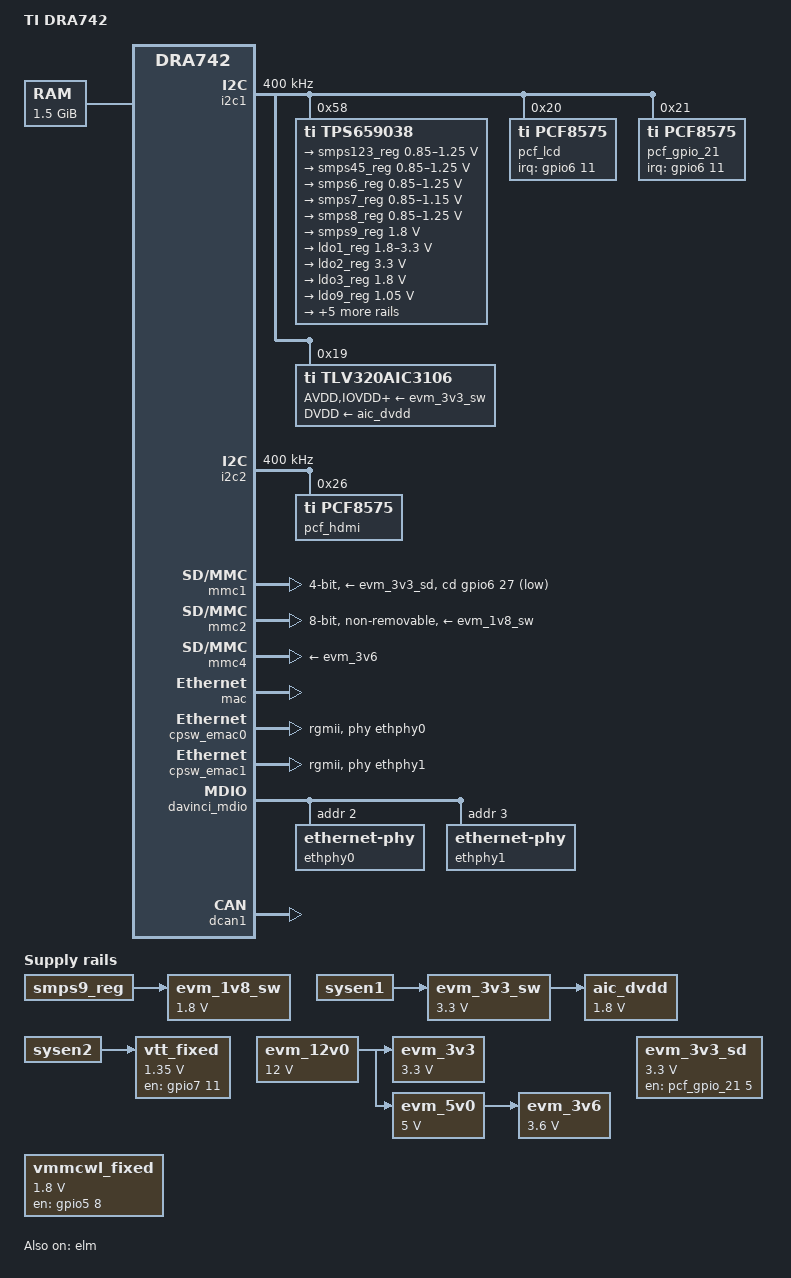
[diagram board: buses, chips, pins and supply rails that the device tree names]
// SPDX-License-Identifier: GPL-2.0-only
/*
 * Copyright (C) 2013 Texas Instruments Incorporated - http://www.ti.com/
 */
/dts-v1/;

#include "dra74x.dtsi"
#include "dra7-evm-common.dtsi"
#include "dra74x-mmc-iodelay.dtsi"

/ {
	model = "TI DRA742";
	compatible = "ti,dra7-evm", "ti,dra742", "ti,dra74", "ti,dra7";

	memory@0 {
		device_type = "memory";
		reg = <0x0 0x80000000 0x0 0x60000000>; /* 1536 MB */
	};

	evm_12v0: fixedregulator-evm_12v0 {
		/* main supply */
		compatible = "regulator-fixed";
		regulator-name = "evm_12v0";
		regulator-min-microvolt = <12000000>;
		regulator-max-microvolt = <12000000>;
		regulator-always-on;
		regulator-boot-on;
	};

	evm_1v8_sw: fixedregulator-evm_1v8 {
		compatible = "regulator-fixed";
		regulator-name = "evm_1v8";
		vin-supply = <&smps9_reg>;
		regulator-min-microvolt = <1800000>;
		regulator-max-microvolt = <1800000>;
	};

	evm_3v3_sd: fixedregulator-sd {
		compatible = "regulator-fixed";
		regulator-name = "evm_3v3_sd";
		regulator-min-microvolt = <3300000>;
		regulator-max-microvolt = <3300000>;
		enable-active-high;
		gpio = <&pcf_gpio_21 5 GPIO_ACTIVE_HIGH>;
	};

	evm_3v3_sw: fixedregulator-evm_3v3_sw {
		compatible = "regulator-fixed";
		regulator-name = "evm_3v3_sw";
		vin-supply = <&sysen1>;
		regulator-min-microvolt = <3300000>;
		regulator-max-microvolt = <3300000>;
	};

	aic_dvdd: fixedregulator-aic_dvdd {
		/* TPS77018DBVT */
		compatible = "regulator-fixed";
		regulator-name = "aic_dvdd";
		vin-supply = <&evm_3v3_sw>;
		regulator-min-microvolt = <1800000>;
		regulator-max-microvolt = <1800000>;
	};

	evm_3v3: fixedregulator-evm3v3 {
		/* Output of Cntlr A of TPS43351-Q1 on dra7-evm */
		compatible = "regulator-fixed";
		regulator-name = "evm_3v3";
		regulator-min-microvolt = <3300000>;
		regulator-max-microvolt = <3300000>;
		vin-supply = <&evm_12v0>;
		regulator-always-on;
		regulator-boot-on;
	};

	evm_5v0: fixedregulator-evm_5v0 {
		/* Output of Cntlr B of TPS43351-Q1 on dra7-evm */
		compatible = "regulator-fixed";
		regulator-name = "evm_5v0";
		regulator-min-microvolt = <5000000>;
		regulator-max-microvolt = <5000000>;
		vin-supply = <&evm_12v0>;
		regulator-always-on;
		regulator-boot-on;
	};

	evm_3v6: fixedregulator-evm_3v6 {
		compatible = "regulator-fixed";
		regulator-name = "evm_3v6";
		regulator-min-microvolt = <3600000>;
		regulator-max-microvolt = <3600000>;
		vin-supply = <&evm_5v0>;
		regulator-always-on;
		regulator-boot-on;
	};

	vmmcwl_fixed: fixedregulator-mmcwl {
		compatible = "regulator-fixed";
		regulator-name = "vmmcwl_fixed";
		regulator-min-microvolt = <1800000>;
		regulator-max-microvolt = <1800000>;
		gpio = <&gpio5 8 0>;
		startup-delay-us = <70000>;
		enable-active-high;
	};

	vtt_fixed: fixedregulator-vtt {
		compatible = "regulator-fixed";
		regulator-name = "vtt_fixed";
		regulator-min-microvolt = <1350000>;
		regulator-max-microvolt = <1350000>;
		regulator-always-on;
		regulator-boot-on;
		enable-active-high;
		vin-supply = <&sysen2>;
		gpio = <&gpio7 11 GPIO_ACTIVE_HIGH>;
	};

};

&dra7_pmx_core {
	dcan1_pins_default: dcan1_pins_default {
		pinctrl-single,pins = <
			DRA7XX_CORE_IOPAD(0x37d0, PIN_OUTPUT_PULLUP | MUX_MODE0) /* dcan1_tx */
			DRA7XX_CORE_IOPAD(0x3818, PULL_UP | MUX_MODE1) /* wakeup0.dcan1_rx */
		>;
	};

	dcan1_pins_sleep: dcan1_pins_sleep {
		pinctrl-single,pins = <
			DRA7XX_CORE_IOPAD(0x37d0, MUX_MODE15 | PULL_UP)	/* dcan1_tx.off */
			DRA7XX_CORE_IOPAD(0x3818, MUX_MODE15 | PULL_UP)	/* wakeup0.off */
		>;
	};
};

&i2c1 {
	status = "okay";
	clock-frequency = <400000>;

	tps659038: tps659038@58 {
		compatible = "ti,tps659038";
		reg = <0x58>;
		ti,palmas-override-powerhold;
		ti,system-power-controller;

		tps659038_pmic {
			compatible = "ti,tps659038-pmic";

			regulators {
				smps123_reg: smps123 {
					/* VDD_MPU */
					regulator-name = "smps123";
					regulator-min-microvolt = < 850000>;
					regulator-max-microvolt = <1250000>;
					regulator-always-on;
					regulator-boot-on;
				};

				smps45_reg: smps45 {
					/* VDD_DSPEVE */
					regulator-name = "smps45";
					regulator-min-microvolt = < 850000>;
					regulator-max-microvolt = <1250000>;
					regulator-always-on;
					regulator-boot-on;
				};

				smps6_reg: smps6 {
					/* VDD_GPU - over VDD_SMPS6 */
					regulator-name = "smps6";
					regulator-min-microvolt = <850000>;
					regulator-max-microvolt = <1250000>;
					regulator-always-on;
					regulator-boot-on;
				};

				smps7_reg: smps7 {
					/* CORE_VDD */
					regulator-name = "smps7";
					regulator-min-microvolt = <850000>;
					regulator-max-microvolt = <1150000>;
					regulator-always-on;
					regulator-boot-on;
				};

				smps8_reg: smps8 {
					/* VDD_IVAHD */
					regulator-name = "smps8";
					regulator-min-microvolt = < 850000>;
					regulator-max-microvolt = <1250000>;
					regulator-always-on;
					regulator-boot-on;
				};

				smps9_reg: smps9 {
					/* VDDS1V8 */
					regulator-name = "smps9";
					regulator-min-microvolt = <1800000>;
					regulator-max-microvolt = <1800000>;
					regulator-always-on;
					regulator-boot-on;
				};

				ldo1_reg: ldo1 {
					/* LDO1_OUT --> SDIO  */
					regulator-name = "ldo1";
					regulator-min-microvolt = <1800000>;
					regulator-max-microvolt = <3300000>;
					regulator-always-on;
					regulator-boot-on;
				};

				ldo2_reg: ldo2 {
					/* VDD_RTCIO */
					/* LDO2 -> VDDSHV5, LDO2 also goes to CAN_PHY_3V3 */
					regulator-name = "ldo2";
					regulator-min-microvolt = <3300000>;
					regulator-max-microvolt = <3300000>;
					regulator-always-on;
					regulator-boot-on;
				};

				ldo3_reg: ldo3 {
					/* VDDA_1V8_PHY */
					regulator-name = "ldo3";
					regulator-min-microvolt = <1800000>;
					regulator-max-microvolt = <1800000>;
					regulator-always-on;
					regulator-boot-on;
				};

				ldo9_reg: ldo9 {
					/* VDD_RTC */
					regulator-name = "ldo9";
					regulator-min-microvolt = <1050000>;
					regulator-max-microvolt = <1050000>;
					regulator-always-on;
					regulator-boot-on;
					regulator-allow-bypass;
				};

				ldoln_reg: ldoln {
					/* VDDA_1V8_PLL */
					regulator-name = "ldoln";
					regulator-min-microvolt = <1800000>;
					regulator-max-microvolt = <1800000>;
					regulator-always-on;
					regulator-boot-on;
				};

				ldousb_reg: ldousb {
					/* VDDA_3V_USB: VDDA_USBHS33 */
					regulator-name = "ldousb";
					regulator-min-microvolt = <3300000>;
					regulator-max-microvolt = <3300000>;
					regulator-boot-on;
				};

				/* REGEN1 is unused */

				regen2: regen2 {
					/* Needed for PMIC internal resources */
					regulator-name = "regen2";
					regulator-boot-on;
					regulator-always-on;
				};

				/* REGEN3 is unused */

				sysen1: sysen1 {
					/* PMIC_REGEN_3V3 */
					regulator-name = "sysen1";
					regulator-boot-on;
					regulator-always-on;
				};

				sysen2: sysen2 {
					/* PMIC_REGEN_DDR */
					regulator-name = "sysen2";
					regulator-boot-on;
					regulator-always-on;
				};
			};
		};
	};

	pcf_lcd: gpio@20 {
		compatible = "ti,pcf8575", "nxp,pcf8575";
		reg = <0x20>;
		gpio-controller;
		#gpio-cells = <2>;
		interrupt-parent = <&gpio6>;
		interrupts = <11 IRQ_TYPE_EDGE_FALLING>;
		interrupt-controller;
		#interrupt-cells = <2>;
	};

	pcf_gpio_21: gpio@21 {
		compatible = "ti,pcf8575", "nxp,pcf8575";
		reg = <0x21>;
		lines-initial-states = <0x1408>;
		gpio-controller;
		#gpio-cells = <2>;
		interrupt-parent = <&gpio6>;
		interrupts = <11 IRQ_TYPE_EDGE_FALLING>;
		interrupt-controller;
		#interrupt-cells = <2>;
	};

	tlv320aic3106: tlv320aic3106@19 {
		#sound-dai-cells = <0>;
		compatible = "ti,tlv320aic3106";
		reg = <0x19>;
		adc-settle-ms = <40>;
		ai3x-micbias-vg = <1>;		/* 2.0V */
		status = "okay";

		/* Regulators */
		AVDD-supply = <&evm_3v3_sw>;
		IOVDD-supply = <&evm_3v3_sw>;
		DRVDD-supply = <&evm_3v3_sw>;
		DVDD-supply = <&aic_dvdd>;
	};
};

&i2c2 {
	status = "okay";
	clock-frequency = <400000>;

	pcf_hdmi: gpio@26 {
		compatible = "ti,pcf8575", "nxp,pcf8575";
		reg = <0x26>;
		gpio-controller;
		#gpio-cells = <2>;
		p1 {
			/* vin6_sel_s0: high: VIN6, low: audio */
			gpio-hog;
			gpios = <1 GPIO_ACTIVE_HIGH>;
			output-low;
			line-name = "vin6_sel_s0";
		};
	};
};

&mmc1 {
	status = "okay";
	vmmc-supply = <&evm_3v3_sd>;
	vqmmc-supply = <&ldo1_reg>;
	bus-width = <4>;
	/*
	 * SDCD signal is not being used here - using the fact that GPIO mode
	 * is always hardwired.
	 */
	cd-gpios = <&gpio6 27 GPIO_ACTIVE_LOW>;
	pinctrl-names = "default", "hs", "sdr12", "sdr25", "sdr50", "ddr50-rev11", "sdr104-rev11", "ddr50", "sdr104";
	pinctrl-0 = <&mmc1_pins_default>;
	pinctrl-1 = <&mmc1_pins_hs>;
	pinctrl-2 = <&mmc1_pins_sdr12>;
	pinctrl-3 = <&mmc1_pins_sdr25>;
	pinctrl-4 = <&mmc1_pins_sdr50>;
	pinctrl-5 = <&mmc1_pins_ddr50 &mmc1_iodelay_ddr_rev11_conf>;
	pinctrl-6 = <&mmc1_pins_sdr104 &mmc1_iodelay_sdr104_rev11_conf>;
	pinctrl-7 = <&mmc1_pins_ddr50 &mmc1_iodelay_ddr_rev20_conf>;
	pinctrl-8 = <&mmc1_pins_sdr104 &mmc1_iodelay_sdr104_rev20_conf>;
};

&mmc2 {
	status = "okay";
	vmmc-supply = <&evm_1v8_sw>;
	vqmmc-supply = <&evm_1v8_sw>;
	bus-width = <8>;
	non-removable;
	pinctrl-names = "default", "hs", "ddr_1_8v-rev11", "ddr_1_8v", "hs200_1_8v-rev11", "hs200_1_8v";
	pinctrl-0 = <&mmc2_pins_default>;
	pinctrl-1 = <&mmc2_pins_hs>;
	pinctrl-2 = <&mmc2_pins_ddr_1_8v_rev11 &mmc2_iodelay_ddr_1_8v_rev11_conf>;
	pinctrl-3 = <&mmc2_pins_ddr_rev20>;
	pinctrl-4 = <&mmc2_pins_hs200 &mmc2_iodelay_hs200_rev11_conf>;
	pinctrl-5 = <&mmc2_pins_hs200 &mmc2_iodelay_hs200_rev20_conf>;
};

&mmc4 {
	status = "okay";
	vmmc-supply = <&evm_3v6>;
	vqmmc-supply = <&vmmcwl_fixed>;
	pinctrl-names = "default-rev11", "default", "hs-rev11", "hs", "sdr12-rev11", "sdr12", "sdr25-rev11", "sdr25";
	pinctrl-0 = <&mmc4_pins_default &mmc4_iodelay_ds_rev11_conf>;
	pinctrl-1 = <&mmc4_pins_default &mmc4_iodelay_ds_rev20_conf>;
	pinctrl-2 = <&mmc4_pins_hs &mmc4_iodelay_sdr12_hs_sdr25_rev11_conf>;
	pinctrl-3 = <&mmc4_pins_hs &mmc4_iodelay_sdr12_hs_sdr25_rev20_conf>;
	pinctrl-4 = <&mmc4_pins_sdr12 &mmc4_iodelay_sdr12_hs_sdr25_rev11_conf>;
	pinctrl-5 = <&mmc4_pins_sdr12 &mmc4_iodelay_sdr12_hs_sdr25_rev20_conf>;
	pinctrl-6 = <&mmc4_pins_sdr25 &mmc4_iodelay_sdr12_hs_sdr25_rev11_conf>;
	pinctrl-7 = <&mmc4_pins_sdr25 &mmc4_iodelay_sdr12_hs_sdr25_rev20_conf>;
};

&cpu0 {
	vdd-supply = <&smps123_reg>;
};

&elm {
	status = "okay";
};

&gpmc {
	/*
	* For the existing IOdelay configuration via U-Boot we don't
	* support NAND on dra7-evm. Keep it disabled. Enabling it
	* requires a different configuration by U-Boot.
	*/
	status = "disabled";
	ranges = <0 0 0x08000000 0x01000000>;	/* minimum GPMC partition = 16MB */
	nand@0,0 {
		compatible = "ti,omap2-nand";
		reg = <0 0 4>;		/* device IO registers */
		interrupt-parent = <&gpmc>;
		interrupts = <0 IRQ_TYPE_NONE>, /* fifoevent */
			     <1 IRQ_TYPE_NONE>; /* termcount */
		rb-gpios = <&gpmc 0 GPIO_ACTIVE_HIGH>; /* gpmc_wait0 pin */
		ti,nand-xfer-type = "prefetch-dma";
		ti,nand-ecc-opt = "bch8";
		ti,elm-id = <&elm>;
		nand-bus-width = <16>;
		gpmc,device-width = <2>;
		gpmc,sync-clk-ps = <0>;
		gpmc,cs-on-ns = <0>;
		gpmc,cs-rd-off-ns = <80>;
		gpmc,cs-wr-off-ns = <80>;
		gpmc,adv-on-ns = <0>;
		gpmc,adv-rd-off-ns = <60>;
		gpmc,adv-wr-off-ns = <60>;
		gpmc,we-on-ns = <10>;
		gpmc,we-off-ns = <50>;
		gpmc,oe-on-ns = <4>;
		gpmc,oe-off-ns = <40>;
		gpmc,access-ns = <40>;
		gpmc,wr-access-ns = <80>;
		gpmc,rd-cycle-ns = <80>;
		gpmc,wr-cycle-ns = <80>;
		gpmc,bus-turnaround-ns = <0>;
		gpmc,cycle2cycle-delay-ns = <0>;
		gpmc,clk-activation-ns = <0>;
		gpmc,wr-data-mux-bus-ns = <0>;
		/* MTD partition table */
		/* All SPL-* partitions are sized to minimal length
		 * which can be independently programmable. For
		 * NAND flash this is equal to size of erase-block */
		#address-cells = <1>;
		#size-cells = <1>;
		partition@0 {
			label = "NAND.SPL";
			reg = <0x00000000 0x000020000>;
		};
		partition@1 {
			label = "NAND.SPL.backup1";
			reg = <0x00020000 0x00020000>;
		};
		partition@2 {
			label = "NAND.SPL.backup2";
			reg = <0x00040000 0x00020000>;
		};
		partition@3 {
			label = "NAND.SPL.backup3";
			reg = <0x00060000 0x00020000>;
		};
		partition@4 {
			label = "NAND.u-boot-spl-os";
			reg = <0x00080000 0x00040000>;
		};
		partition@5 {
			label = "NAND.u-boot";
			reg = <0x000c0000 0x00100000>;
		};
		partition@6 {
			label = "NAND.u-boot-env";
			reg = <0x001c0000 0x00020000>;
		};
		partition@7 {
			label = "NAND.u-boot-env.backup1";
			reg = <0x001e0000 0x00020000>;
		};
		partition@8 {
			label = "NAND.kernel";
			reg = <0x00200000 0x00800000>;
		};
		partition@9 {
			label = "NAND.file-system";
			reg = <0x00a00000 0x0f600000>;
		};
	};
};

&usb2_phy1 {
	phy-supply = <&ldousb_reg>;
};

&usb2_phy2 {
	phy-supply = <&ldousb_reg>;
};

&gpio7 {
	ti,no-reset-on-init;
	ti,no-idle-on-init;
};

&mac {
	status = "okay";
	dual_emac;
};

&cpsw_emac0 {
	phy-handle = <&ethphy0>;
	phy-mode = "rgmii";
	dual_emac_res_vlan = <1>;
};

&cpsw_emac1 {
	phy-handle = <&ethphy1>;
	phy-mode = "rgmii";
	dual_emac_res_vlan = <2>;
};

&davinci_mdio {
	ethphy0: ethernet-phy@2 {
		reg = <2>;
	};

	ethphy1: ethernet-phy@3 {
		reg = <3>;
	};
};

&dcan1 {
	status = "ok";
	pinctrl-names = "default", "sleep", "active";
	pinctrl-0 = <&dcan1_pins_sleep>;
	pinctrl-1 = <&dcan1_pins_sleep>;
	pinctrl-2 = <&dcan1_pins_default>;
};
